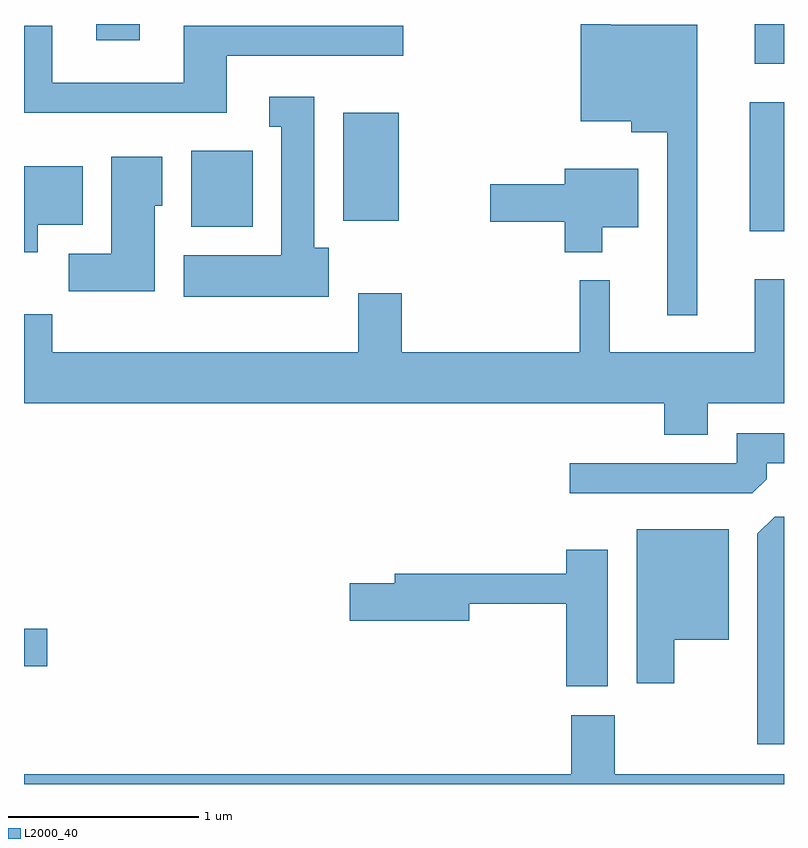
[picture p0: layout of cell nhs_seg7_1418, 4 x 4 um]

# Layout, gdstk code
import gdstk
lib = gdstk.Library(unit=1e-6, precision=1e-09)
def R(c, l, rs):  # rectangles x0, y0, x1, y1
    for r in rs: c.add(gdstk.rectangle(r[:2], r[2:], *l))
def P(c, l, *ps):  # polygons
    for p in ps: c.add(gdstk.Polygon(p, *l))
L2000_40 = (2000, 40)

nhs_seg7_1418 = lib.new_cell('nhs_seg7_1418')
R(nhs_seg7_1418, L2000_40, [(227.611,1772.871,227.734,1773.069), (231.431,1775.161,231.611,1775.839), (228.491,1775.186,228.814,1775.584), (229.291,1775.216,229.584,1775.784), (231.456,1776.043,231.611,1776.252), (227.991,1776.166,228.219,1776.252)])
P(nhs_seg7_1418, L2000_40, [(231.154,1776.249),(230.699,1776.249),(230.699,1776.252),(230.541,1776.252),(230.541,1775.741),(230.806,1775.741),(230.806,1775.681),(230.996,1775.681),(230.996,1774.718),(231.154,1774.718)],
  [(228.679,1776.086),(229.608,1776.086),(229.608,1776.244),(228.451,1776.244),(228.451,1775.944),(227.759,1775.944),(227.759,1776.244),(227.611,1776.244),(227.611,1775.786),(228.679,1775.786)],
  [(229.214,1775.074),(229.139,1775.074),(229.139,1775.869),(228.903,1775.869),(228.903,1775.711),(228.966,1775.711),(228.966,1775.034),(228.451,1775.034),(228.451,1774.816),(229.214,1774.816)],
  [(228.299,1775.296),(228.339,1775.296),(228.339,1775.554),(228.071,1775.554),(228.071,1775.044),(227.846,1775.044),(227.846,1774.846),(228.299,1774.846)],
  [(227.684,1775.196),(227.919,1775.196),(227.919,1775.504),(227.611,1775.504),(227.611,1775.051),(227.684,1775.051)],
  [(230.654,1775.181),(230.844,1775.181),(230.844,1775.489),(230.456,1775.489),(230.456,1775.409),(230.066,1775.409),(230.066,1775.211),(230.456,1775.211),(230.456,1775.051),(230.654,1775.051)],
  [(231.209,1774.256),(231.611,1774.256),(231.611,1774.908),(231.456,1774.908),(231.456,1774.524),(230.694,1774.524),(230.694,1774.903),(230.536,1774.903),(230.536,1774.524),(229.599,1774.524),(229.599,1774.834),(229.371,1774.834),(229.371,1774.524),(227.759,1774.524),(227.759,1774.724),(227.611,1774.724),(227.611,1774.256),(230.981,1774.256),(230.981,1774.091),(231.209,1774.091)],
  [(231.519,1773.857),(231.519,1773.941),(231.611,1773.941),(231.611,1774.099),(231.361,1774.099),(231.361,1773.939),(230.483,1773.939),(230.483,1773.781),(231.444,1773.781)],
  [(231.611,1773.659),(231.562,1773.659),(231.471,1773.569),(231.471,1772.461),(231.611,1772.461)],
  [(231.034,1773.011),(231.319,1773.011),(231.319,1773.594),(230.836,1773.594),(230.836,1772.781),(231.034,1772.781)],
  [(230.684,1773.484),(230.466,1773.484),(230.466,1773.359),(229.561,1773.359),(229.561,1773.309),(229.326,1773.309),(229.326,1773.111),(229.954,1773.111),(229.954,1773.201),(230.466,1773.201),(230.466,1772.766),(230.684,1772.766)],
  [(231.611,1772.304),(230.719,1772.304),(230.719,1772.614),(230.491,1772.614),(230.491,1772.304),(227.611,1772.304),(227.611,1772.252),(231.611,1772.252)])

lib.write_gds('nhs_seg7_1418.gds')
